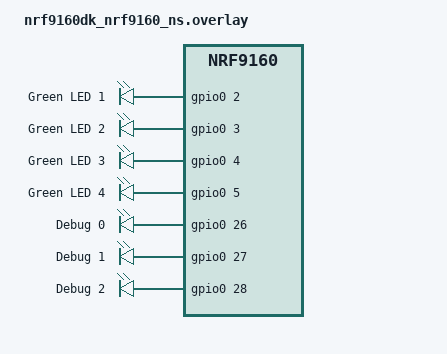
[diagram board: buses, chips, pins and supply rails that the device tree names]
/	{
	/delete-node/ leds;

	leds0 {
		compatible = "gpio-leds";
		status = "okay";
		label = "LED0";
		led0: led_0 {
			status = "okay";
			gpios = <&gpio0 2 0>;
			label = "Green LED 1";
		};
	};

	leds1 {
		compatible = "gpio-leds";
		status = "okay";
		label = "LED1";
		led1: led_1 {
			gpios = <&gpio0 3 0>;
			label = "Green LED 2";
		};
	};

	leds2 {
		compatible = "gpio-leds";
		status = "okay";
		label = "LED2";
		led2: led_2 {
			gpios = <&gpio0 4 0>;
			label = "Green LED 3";
		};
	};

	leds3 {
		compatible = "gpio-leds";
		status = "okay";
		label = "LED3";
		led3: led_3 {
			gpios = <&gpio0 5 0>;
			label = "Green LED 4";
		};
	};

	dbgs {
        compatible = "gpio-leds";
        dbg0: dbg_0 {
            gpios = <&gpio0 26 GPIO_ACTIVE_HIGH>;
            label = "Debug 0";
        };
        dbg1: dbg_1 {
            gpios = <&gpio0 27 GPIO_ACTIVE_HIGH>;
            label = "Debug 1";
        };
        dbg2: dbg_2 {
            gpios = <&gpio0 28 GPIO_ACTIVE_HIGH>;
            label = "Debug 2";
        };
	};

	/* These aliases are provided for compatibility with samples */
	aliases {
		led0 = &led0;
		led1 = &led1;
		led2 = &led2;
		led3 = &led3;
		pwm-led0 = &pwm_led0;
		sw0 = &button0;
		sw1 = &button1;
		sw2 = &button2;
		sw3 = &button3;
		bootloader-led0 = &led0;
		mcuboot-button0 = &button0;
		mcuboot-led0 = &led0;
		watchdog0 = &wdt0;
		dbg0 = &dbg0;
		dbg1 = &dbg1;
		dbg2 = &dbg2;
	};

};

/* Enable high drive mode for the SPI3 pins to get a square signal at 8 MHz */
&spi3_default {
	group1 {
		nordic,drive-mode = <NRF_DRIVE_H0H1>;
	};
};
